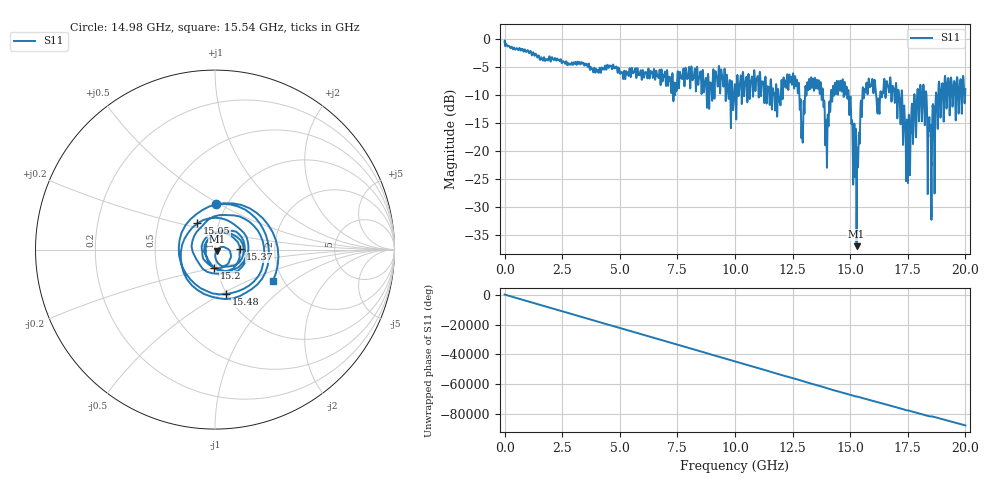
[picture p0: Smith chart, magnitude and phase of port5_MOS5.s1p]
! MS46122B
! 2250307/22442219
! 6/12/2025 7:38:20 AM
! C:\USERS\SPARKY\DOCUMENTS\VNA_DATA\JUNE12_2025\3.1 KELVIN\PORT5.S1P
! CHANNEL.1
! TR.MEASUREMENT
! RAW.DATA
# GHZ S RI R 50.0
! FREQ.GHZ  S11RE  S11IM
!; PortSelection: Port_1
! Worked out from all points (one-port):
!   10001 points, 1 MHz to 20 GHz, reference 50 ohm
!   lowest |S11| = -37.0 dB at 15.28 GHz (marker M1), VSWR 1.03, Z = 51.1 - j0.882 ohm
!   |S11| at or under -10 dB: 14.94 GHz to 15.53 GHz (592.6 MHz wide, 3.89 % of centre); 17.25 GHz to 17.78 GHz (526 MHz wide, 3 % of centre); 18.31 GHz to 18.72 GHz (408.7 MHz wide, 2.21 % of centre) (the widest 3 of 59)
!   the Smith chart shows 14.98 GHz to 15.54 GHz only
!   S11 on the Smith chart (normalised r, x): 14.98 GHz: 0.89, +0.48; 15.05 GHz: 0.79, +0.24; 15.2 GHz: 0.97, -0.20; 15.37 GHz: 1.32, +0.01; 15.48 GHz: 0.99, -0.53; 15.54 GHz: 1.76, -0.72
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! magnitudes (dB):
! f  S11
! 1 MHz  -0.5
! 2.501 GHz  -4.1
! 5.001 GHz  -6.0
! 7.501 GHz  -6.4
! 9.475 GHz  -7.4
! 10 GHz  -8.0
! 12.5 GHz  -6.8
! 12.92 GHz  -15.2
! 13.3 GHz  -6.8
! 13.72 GHz  -7.7
! 13.98 GHz  -21.2
! 14.34 GHz  -7.8
! 14.98 GHz  -11.9
! 15 GHz  -10.5
! 15.05 GHz  -15.1
! 15.2 GHz  -19.9
! 15.28 GHz  -37.0
! 15.37 GHz  -17.1
! 15.48 GHz  -11.9
! 15.54 GHz  -8.7
! 16.67 GHz  -8.9
! 17.17 GHz  -13.1
! 17.5 GHz  -21.7
! 17.99 GHz  -14.5
! 18.24 GHz  -15.2
! 18.45 GHz  -15.9
! 18.93 GHz  -13.8
! 20 GHz  -8.9
